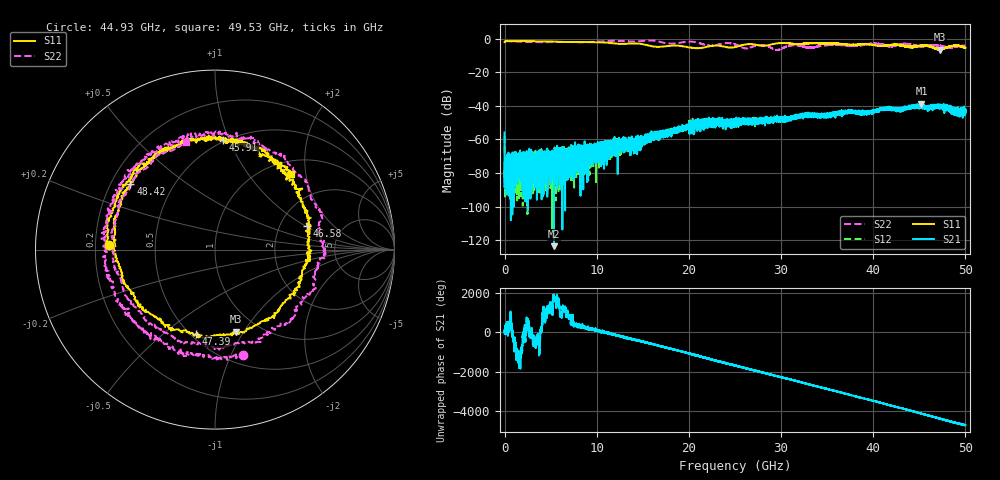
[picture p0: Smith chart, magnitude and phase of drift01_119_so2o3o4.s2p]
!Created with skrf (http://scikit-rf.org).
# Hz S RI R 50.0
!freq ReS11 ImS11 ReS21 ImS21 ReS12 ImS12 ReS22 ImS22
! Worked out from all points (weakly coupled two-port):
!   10001 points, 300 kHz to 50 GHz, reference 50 ohm
!   highest |S21| = -38.62 dB at 45.23 GHz (marker M1); lowest = -123.6 dB at 5.36 GHz (marker M2)
!   lowest |S11| = -6.5 dB at 47.22 GHz (marker M3), VSWR 2.79, Z = 39.2 - j46.2 ohm
!   |S11| at or under -10 dB: nowhere
!   |S22| runs from -6.8 to -1.0 dB; largest |S21 - S12| = 0.0035
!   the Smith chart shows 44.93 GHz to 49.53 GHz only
!   S11 on the Smith chart (normalised r, x): 44.93 GHz: 0.26, +0.02; 45.91 GHz: 0.49, +0.95; 46.58 GHz: 2.82, +1.02; 47.39 GHz: 0.53, -0.65; 48.42 GHz: 0.28, +0.32; 49.53 GHz: 1.26, +1.64
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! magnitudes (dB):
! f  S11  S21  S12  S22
! 300 kHz  -2.0  -55.8  -57.8  -1.3
! 280.3 MHz  -1.4  -81.2  -93.3  -1.4
! 5.36 GHz  -1.7  -123.6  -74.1  -2.0
! 8.335 GHz  -1.9  -73.0  -68.3  -2.1
! 16.67 GHz  -4.8  -56.7  -57.4  -1.6
! 21.34 GHz  -5.5  -48.7  -49.6  -3.0
! 25 GHz  -5.0  -49.8  -49.2  -3.4
! 26.18 GHz  -3.4  -50.5  -49.5  -5.7
! 28.09 GHz  -4.2  -48.8  -49.1  -3.8
! 29.54 GHz  -2.7  -47.5  -47.6  -6.7
! 31.29 GHz  -3.0  -47.2  -47.5  -4.0
! 33.34 GHz  -2.6  -45.7  -45.3  -5.4
! 41.67 GHz  -3.8  -41.9  -42.2  -4.5
! 44.93 GHz  -4.5  -41.3  -40.6  -4.3
! 45.23 GHz  -4.1  -38.6  -40.4  -4.6
! 45.91 GHz  -4.3  -41.0  -40.7  -3.9
! 46.58 GHz  -5.6  -41.3  -40.1  -3.7
! 47.22 GHz  -6.5  -40.8  -40.4  -4.3
! 47.39 GHz  -6.4  -40.3  -40.5  -4.6
! 48.42 GHz  -4.5  -40.1  -41.9  -5.1
! 49.53 GHz  -4.5  -44.6  -43.1  -4.1
! 50 GHz  -5.4  -42.1  -42.3  -4.2
